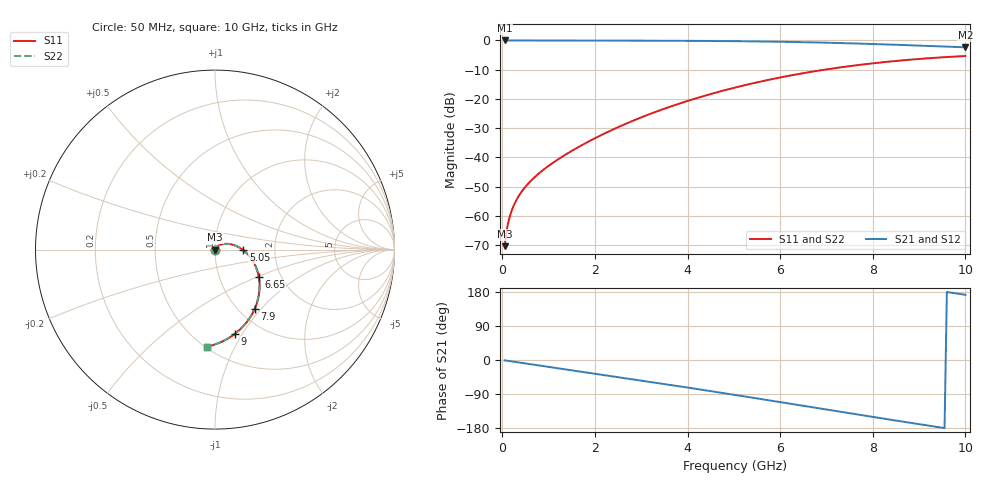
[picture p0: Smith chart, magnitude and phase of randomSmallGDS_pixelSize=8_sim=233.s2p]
! freq	dB(S11)	phase(S11)	dB(S12)	phase(S12)
!  dB(S21)	phase(S21)	dB(S22)	phase(S22)
!S-par simulation data
#  GHz  S  DB  R 50
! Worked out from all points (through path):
!   200 points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, 50 MHz to 10 GHz, reference 50 ohm
!   highest |S21| = 0.00 dB at 50 MHz (marker M1); lowest = -2.3 dB at 10 GHz (marker M2)
!   group delay of S21, straight-line fit = 52.7 ps
!   lowest |S11| = -70.3 dB at 50 MHz (marker M3), VSWR 1.00, Z = 50 + j0.0301 ohm
!   |S11| at or under -10 dB: start of sweep to 6.956 GHz
!   |S22| runs from -70.3 to -5.3 dB; largest |S21 - S12| = 0
!   S11 on the Smith chart (normalised r, x): 50 MHz: 1.00, +0.00; 5.05 GHz: 1.38, -0.01; 6.65 GHz: 1.54, -0.52; 7.9 GHz: 1.17, -0.92; 9 GHz: 0.76, -0.93; 10 GHz: 0.51, -0.78
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0.05  -70.35 81.5  -0.00 -0.9  -0.00 -0.9  -70.35 81.5
0.1  -64.37 84.5  -0.00 -1.8  -0.00 -1.8  -64.37 84.5
0.15  -60.84 85.0  -0.00 -2.7  -0.00 -2.7  -60.84 85.0
0.2  -58.32 84.8  -0.00 -3.6  -0.00 -3.6  -58.31 84.8
0.3  -54.71 83.8  -0.00 -5.4  -0.00 -5.4  -54.71 83.8
0.45  -51.01 81.8  -0.01 -8.1  -0.01 -8.1  -51.01 81.7
0.65  -47.47 78.8  -0.01 -11.7  -0.01 -11.7  -47.47 78.7
0.95  -43.47 74.0  -0.02 -17.1  -0.02 -17.1  -43.47 73.9
1.3  -39.69 68.2  -0.03 -23.3  -0.03 -23.3  -39.69 68.1
1.75  -35.53 60.5  -0.04 -31.4  -0.04 -31.4  -35.53 60.3
2.55  -29.31 46.0  -0.06 -45.9  -0.06 -45.9  -29.31 45.8
3.4  -23.91 30.1  -0.09 -61.5  -0.09 -61.5  -23.91 30.0
4.25  -19.47 14.1  -0.15 -77.4  -0.15 -77.4  -19.48 13.9
5.05  -16.01 -1.2  -0.25 -92.6  -0.25 -92.6  -16.01 -1.4
5.85  -13.14 -16.7  -0.41 -108.1  -0.41 -108.1  -13.14 -16.9
6.65  -10.78 -32.3  -0.64 -123.8  -0.64 -123.8  -10.78 -32.4
6.7  -10.65 -33.2  -0.66 -124.8  -0.66 -124.8  -10.65 -33.4
7.3  -9.21 -44.9  -0.89 -136.6  -0.89 -136.6  -9.21 -45.0
7.9  -8.00 -56.3  -1.16 -148.3  -1.16 -148.3  -8.00 -56.5
8.35  -7.24 -64.8  -1.39 -157.0  -1.39 -157.0  -7.24 -64.9
9  -6.33 -76.8  -1.75 -169.4  -1.75 -169.4  -6.33 -76.9
10  -5.32 -94.6  -2.34 172.0  -2.34 172.0  -5.32 -94.8
